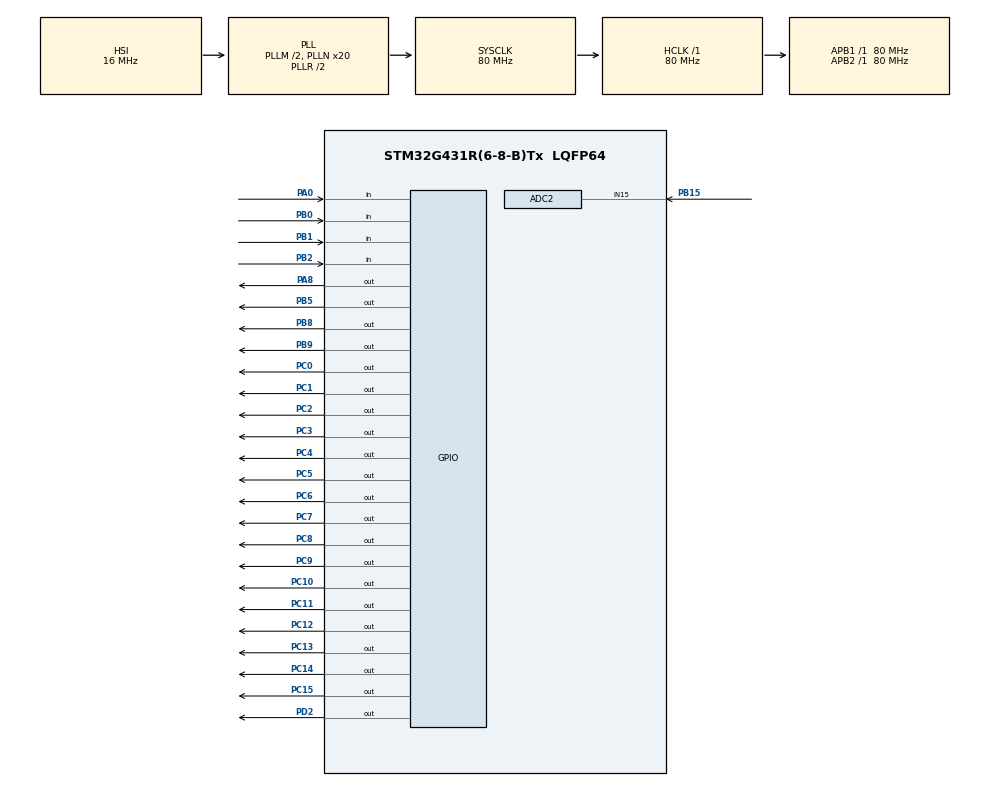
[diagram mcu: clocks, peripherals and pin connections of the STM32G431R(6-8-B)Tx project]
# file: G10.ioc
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ADC2.Channel-0\#ChannelRegularConversion=ADC_CHANNEL_15
ADC2.NbrOfConversionFlag=1
ADC2.OffsetNumber-0\#ChannelRegularConversion=ADC_OFFSET_NONE
ADC2.Rank-0\#ChannelRegularConversion=1
ADC2.SamplingTime-0\#ChannelRegularConversion=ADC_SAMPLETIME_2CYCLES_5
Mcu.Family=STM32G4
Mcu.Name=STM32G431R(6-8-B)Tx
Mcu.Package=LQFP64
NVIC.PriorityGroup=NVIC_PRIORITYGROUP_4
PA0.Signal=GPIO_Input
PA8.Signal=GPIO_Output
PB0.Signal=GPIO_Input
PB1.Signal=GPIO_Input
PB15.Mode=IN15-Single-Ended
PB15.Signal=ADC2_IN15
PB2.Signal=GPIO_Input
PB5.Signal=GPIO_Output
PB8-BOOT0.Signal=GPIO_Output
PB9.Signal=GPIO_Output
PC0.Signal=GPIO_Output
PC1.Signal=GPIO_Output
PC10.Signal=GPIO_Output
PC11.Signal=GPIO_Output
PC12.Signal=GPIO_Output
PC13.Signal=GPIO_Output
PC14-OSC32_IN.Signal=GPIO_Output
PC15-OSC32_OUT.Signal=GPIO_Output
PC2.Signal=GPIO_Output
PC3.Signal=GPIO_Output
PC4.Signal=GPIO_Output
PC5.Signal=GPIO_Output
PC6.Signal=GPIO_Output
PC7.Signal=GPIO_Output
PC8.Signal=GPIO_Output
PC9.Signal=GPIO_Output
PD2.Signal=GPIO_Output
PF0-OSC_IN.Mode=HSE-External-Oscillator
PF0-OSC_IN.Signal=RCC_OSC_IN
PF1-OSC_OUT.Mode=HSE-External-Oscillator
PF1-OSC_OUT.Signal=RCC_OSC_OUT
ProjectManager.HeapSize=0x200
ProjectManager.StackSize=0x400
ProjectManager.TargetToolchain=MDK-ARM V5
RCC.ADC12Freq_Value=80000000
RCC.AHBFreq_Value=80000000
RCC.APB1Freq_Value=80000000
RCC.APB1TimFreq_Value=80000000
RCC.APB2Freq_Value=80000000
RCC.APB2TimFreq_Value=80000000
RCC.CortexFreq_Value=80000000
RCC.EXTERNAL_CLOCK_VALUE=12288000
RCC.HCLKFreq_Value=80000000
RCC.HSE_VALUE=24000000
RCC.HSI48_VALUE=48000000
RCC.HSI_VALUE=16000000
RCC.LSE_VALUE=32768
RCC.PLLM=RCC_PLLM_DIV2
RCC.PLLN=20
RCC.SYSCLKFreq_VALUE=80000000
RCC.SYSCLKSource=RCC_SYSCLKSOURCE_PLLCLK
RCC.USBFreq_Value=80000000
RCC.VCOOutputFreq_Value=160000000
VP_SYS_VS_DBSignals.Mode=DisableDeadBatterySignals
board=custom

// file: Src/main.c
/* USER CODE BEGIN Header */
/**
  ******************************************************************************
  * @file           : main.c
  * @brief          : Main program body
  ******************************************************************************
  * @attention
  *
  * <h2><center>&copy; Copyright (c) 2021 STMicroelectronics.
  * All rights reserved.</center></h2>
  *
  * This software component is licensed by ST under BSD 3-Clause license,
  * the "License"; You may not use this file except in compliance with the
  * License. You may obtain a copy of the License at:
  *                        opensource.org/licenses/BSD-3-Clause
  *
  ******************************************************************************
  */
/* USER CODE END Header */

#include "main.h"
#include "adc.h"
#include "gpio.h"

/* USER CODE BEGIN Includes */
#include "led.h"
#include "key.h"
#include "stdio.h"
#include "i2c_hal.h"

/* USER CODE END Includes */

void SystemClock_Config(void);

/* USER CODE BEGIN 0 */

#define Display_Main 0
#define Display_Setting 1

u8 Display_Mode = 0;

//1
u8 status_flag = 0; //0������1�ߣ�2��

//2
u8 maxv_set = 24;
u8 minv_set = 12;
u8 upper_set = 1;
u8 lower_set = 2;

u8 maxv_com = 24;
u8 minv_com = 12;
u8 upper_com = 1;
u8 lower_com = 2;

u8 setting_index = 1; //1 2 3 4

//EEPROM
u8 start_times = 0;

//KEY
uint32_t keyTick = 0;
void Key_Process(void)
{
	if(uwTick - keyTick < 20) return;
	keyTick = uwTick;

	Key_Read();

	if(Up & 0x01)
	{
		LCD_Clear(Black);
		Display_Mode = (Display_Mode+1)%2;

		if(Display_Mode == Display_Setting)
		{
			setting_index = 1;
			 maxv_set = maxv_com;
			 minv_set = minv_com;
			 upper_set = upper_com;
			 lower_set = lower_com;
		}

		if(Display_Mode == Display_Main)
		{
			if(minv_set < maxv_set && upper_set != lower_set)
			{
				 maxv_com = maxv_set;
				 minv_com = minv_set;
				 upper_com = upper_set;
				 lower_com = lower_set;
			}
		}
	}

	if(Up & 0x02)
	{
		if(Display_Mode == Display_Setting)
			setting_index = setting_index % 4 + 1;
	}

	if(Up & 0x04)
	{
		if(Display_Mode == Display_Setting)
		{
			if(setting_index == 1)
			{
				maxv_set += 3;
				if(maxv_set >= 33)
					maxv_set = 33;
			}
			if(setting_index == 2)
			{
				minv_set += 3;
				if(minv_set >= 33)
					minv_set = 33;
			}
			if(setting_index == 3)
			{
				upper_set += 1;
				if(upper_set>=8)
					upper_set = 8;
			}
			if(setting_index == 4)
			{
				lower_set += 1;
				if(lower_set >= 8)
					lower_set = 8;
			}
		}
	}

	if(Up & 0x08)
	{
		if(Display_Mode == Display_Setting)
		{
			if(setting_index == 1)
			{
				if(maxv_set > 0 )
					maxv_set -= 3;
			}
			if(setting_index == 2)
			{
				if(minv_set > 0)
				minv_set -= 3;
			}
			if(setting_index == 3)
			{
				upper_set -= 1;
				if(upper_set<=1)
					upper_set = 1;
			}
			if(setting_index == 4)
			{
				lower_set -= 1;
				if(lower_set <= 1)
					lower_set = 1;
			}
		}
	}

}

//ADC
u32 adc_val;
float r37_v;
void ADC_Process(void)
{
	HAL_ADC_Start(&hadc2);
	adc_val = HAL_ADC_GetValue(&hadc2);
	r37_v = adc_val/4095.0f*3.3f;

}

//LED
u8 led_ctrl = 0x00;
uint32_t ledTick;
void Led_Process(void)
{
	if(uwTick - ledTick < 200) return;
	ledTick = uwTick;

	if(r37_v > maxv_com/10.0f)
	{
		led_ctrl ^=0x01<<(upper_com-1);
		status_flag = 1;
	}
	else if(r37_v < minv_com / 10.0f)
	{
		led_ctrl ^= 0x01<<(lower_com - 1);
		status_flag = 2;
	}
	else
	{
		led_ctrl = 0x00;
		status_flag = 0;
	}

	Led_Control(led_ctrl);

}

//LCD
void LCD_Process(void)
{
	u8 display_buf[30];

	if(Display_Mode == Display_Main)
	{
		sprintf((char *)display_buf,"     Main ");
		LCD_DisplayStringLine(Line0,display_buf);

		sprintf((char *)display_buf,"  Volt:%4.2fV",r37_v);
		LCD_DisplayStringLine(Line2,display_buf);

		if(status_flag == 0)
		{
			sprintf((char *)display_buf,"  Status:Normal   ");
			LCD_DisplayStringLine(Line4,display_buf);
		}

		if(status_flag == 1)
		{
			sprintf((char *)display_buf,"  Status:Upper   ");
			LCD_DisplayStringLine(Line4,display_buf);
		}

		if(status_flag == 2)
		{
			sprintf((char *)display_buf,"  Status:Lower   ");
			LCD_DisplayStringLine(Line4,display_buf);
		}

//		sprintf((char *)display_buf,"Trg:%02x UP:%02x Cont:%02x",Trg,Up,Cont);
//		LCD_DisplayStringLine(Line6,display_buf);
	}

	if(Display_Mode == Display_Setting)
	{
		sprintf((char*)display_buf,"     Setting  ");
		LCD_DisplayStringLine(Line0,display_buf);

		if(setting_index == 1)
		{
			LCD_SetBackColor(Green);
			sprintf((char*)display_buf,"  Max Volt:%3.1fV     ",maxv_set/10.0f);
		  LCD_DisplayStringLine(Line2,display_buf);
			LCD_SetBackColor(Black);
		}
		else
		{
		  sprintf((char*)display_buf,"  Max Volt:%3.1fV     ",maxv_set/10.0f);
			LCD_DisplayStringLine(Line2,display_buf);
		}

		if(setting_index == 2)
		{
			LCD_SetBackColor(Green);
			sprintf((char*)display_buf,"  Min Volt:%3.1fV     ",minv_set/10.0f);
		  LCD_DisplayStringLine(Line4,display_buf);
			LCD_SetBackColor(Black);
		}
		else
		{
		  sprintf((char*)display_buf,"  Min Volt:%3.1fV     ",minv_set/10.0f);
		  LCD_DisplayStringLine(Line4,display_buf);
		}

		if(setting_index == 3)
		{
			LCD_SetBackColor(Green);
			sprintf((char*)display_buf,"  Upper:LED%d        ",upper_set);
	   	LCD_DisplayStringLine(Line6,display_buf);
			LCD_SetBackColor(Black);
		}
		else
		{
			sprintf((char*)display_buf,"  Upper:LED%d        ",upper_set);
			LCD_DisplayStringLine(Line6,display_buf);
		}

		if(setting_index == 4)
		{
			LCD_SetBackColor(Green);
			sprintf((char*)display_buf,"  Lower:LED%d        ",lower_set);
			LCD_DisplayStringLine(Line8,display_buf);
			LCD_SetBackColor(Black);
		}
		else
		{
			sprintf((char*)display_buf,"  Lower:LED%d        ",lower_set);
			LCD_DisplayStringLine(Line8,display_buf);
		}
	}

}

/* USER CODE END 0 */

int main(void)
{

  /* MCU Configuration--------------------------------------------------------*/

  /* Reset of all peripherals, Initializes the Flash interface and the Systick. */
  HAL_Init();

  /* Configure the system clock */
  SystemClock_Config();

  /* Initialize all configured peripherals */
  MX_GPIO_Init();
  MX_ADC2_Init();
  /* USER CODE BEGIN 2 */

    LCD_Init();

		//EEPROM
		I2CInit();

//		if(EEPROM_Read(0x01) != 123)
//		{
//			EEPROM_Write(0x01,123);
//			EEPROM_Write(0x02,0);
//		}
//
//		start_times = EEPROM_Read(0x02)+1;
//		EEPROM_Write(0x02,start_times);

//		EEPROM_Write(0x01,0);
//		EEPROM_Write(0x02,0);

  /* USER CODE END 2 */

  /* Infinite loop */
  /* USER CODE BEGIN WHILE */

    LCD_Clear(Black);
    LCD_SetBackColor(Black);
    LCD_SetTextColor(White);

//    LCD_DrawLine(120, 0, 320, Horizontal);
//    LCD_DrawLine(0, 160, 240, Vertical);
//    HAL_Delay(1000);
//    LCD_Clear(Blue);

//    LCD_DrawRect(70, 210, 100, 100);
//    HAL_Delay(1000);
//    LCD_Clear(Blue);

//    LCD_DrawCircle(120, 160, 50);
//    HAL_Delay(1000);

//    LCD_Clear(Blue);
//    LCD_DisplayStringLine(Line4, (unsigned char *)"    Hello,world.   ");
//    HAL_Delay(1000);

//    LCD_SetBackColor(White);
//    LCD_DisplayStringLine(Line0, (unsigned char *)"                    ");
//    LCD_SetBackColor(Black);
//    LCD_DisplayStringLine(Line1, (unsigned char *)"                    ");
//    LCD_SetBackColor(Grey);
//    LCD_DisplayStringLine(Line2, (unsigned char *)"                    ");
//    LCD_SetBackColor(Blue);
//    LCD_DisplayStringLine(Line3, (unsigned char *)"                    ");
//    LCD_SetBackColor(Blue2);
//    LCD_DisplayStringLine(Line4, (unsigned char *)"                    ");
//    LCD_SetBackColor(Red);
//    LCD_DisplayStringLine(Line5, (unsigned char *)"                    ");
//    LCD_SetBackColor(Magenta);
//    LCD_DisplayStringLine(Line6, (unsigned char *)"                    ");
//    LCD_SetBackColor(Green);
//    LCD_DisplayStringLine(Line7, (unsigned char *)"                    ");
//    LCD_SetBackColor(Cyan);
//    LCD_DisplayStringLine(Line8, (unsigned char *)"                    ");
//    LCD_SetBackColor(Yellow);
//    LCD_DisplayStringLine(Line9, (unsigned char *)"                    ");
		Led_Control(0x00);
    while (1)
    {
    /* USER CODE END WHILE */

    /* USER CODE BEGIN 3 */
			Key_Process();
			ADC_Process();
			LCD_Process();
			Led_Process();
    }
  /* USER CODE END 3 */
}

void SystemClock_Config(void)
{
  RCC_OscInitTypeDef RCC_OscInitStruct = {0};
  RCC_ClkInitTypeDef RCC_ClkInitStruct = {0};
  RCC_PeriphCLKInitTypeDef PeriphClkInit = {0};

  /** Configure the main internal regulator output voltage
  */
  HAL_PWREx_ControlVoltageScaling(PWR_REGULATOR_VOLTAGE_SCALE1);
  /** Initializes the CPU, AHB and APB busses clocks
  */
  RCC_OscInitStruct.OscillatorType = RCC_OSCILLATORTYPE_HSI;
  RCC_OscInitStruct.HSIState = RCC_HSI_ON;
  RCC_OscInitStruct.HSICalibrationValue = RCC_HSICALIBRATION_DEFAULT;
  RCC_OscInitStruct.PLL.PLLState = RCC_PLL_ON;
  RCC_OscInitStruct.PLL.PLLSource = RCC_PLLSOURCE_HSI;
  RCC_OscInitStruct.PLL.PLLM = RCC_PLLM_DIV2;
  RCC_OscInitStruct.PLL.PLLN = 20;
  RCC_OscInitStruct.PLL.PLLP = RCC_PLLP_DIV2;
  RCC_OscInitStruct.PLL.PLLQ = RCC_PLLQ_DIV2;
  RCC_OscInitStruct.PLL.PLLR = RCC_PLLR_DIV2;
  if (HAL_RCC_OscConfig(&RCC_OscInitStruct) != HAL_OK)
  {
    Error_Handler();
  }
  /** Initializes the CPU, AHB and APB busses clocks
  */
  RCC_ClkInitStruct.ClockType = RCC_CLOCKTYPE_HCLK|RCC_CLOCKTYPE_SYSCLK
                              |RCC_CLOCKTYPE_PCLK1|RCC_CLOCKTYPE_PCLK2;
  RCC_ClkInitStruct.SYSCLKSource = RCC_SYSCLKSOURCE_PLLCLK;
  RCC_ClkInitStruct.AHBCLKDivider = RCC_SYSCLK_DIV1;
  RCC_ClkInitStruct.APB1CLKDivider = RCC_HCLK_DIV1;
  RCC_ClkInitStruct.APB2CLKDivider = RCC_HCLK_DIV1;

  if (HAL_RCC_ClockConfig(&RCC_ClkInitStruct, FLASH_LATENCY_3) != HAL_OK)
  {
    Error_Handler();
  }
  /** Initializes the peripherals clocks
  */
  PeriphClkInit.PeriphClockSelection = RCC_PERIPHCLK_ADC12;
  PeriphClkInit.Adc12ClockSelection = RCC_ADC12CLKSOURCE_SYSCLK;
  if (HAL_RCCEx_PeriphCLKConfig(&PeriphClkInit) != HAL_OK)
  {
    Error_Handler();
  }
}

void Error_Handler(void)
{
}

/************************ (C) COPYRIGHT STMicroelectronics *****END OF FILE****/
